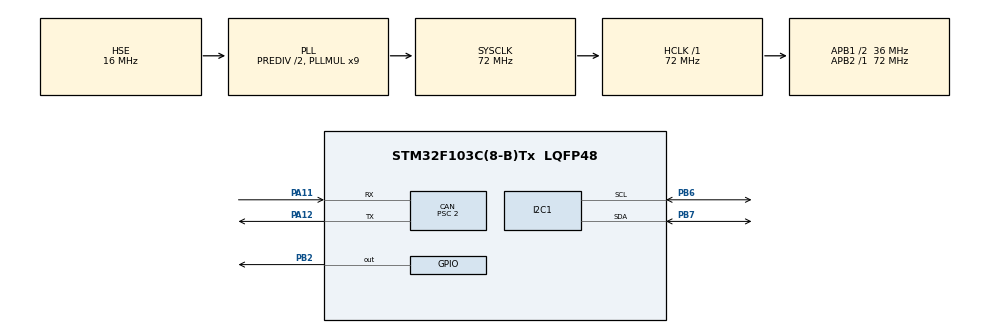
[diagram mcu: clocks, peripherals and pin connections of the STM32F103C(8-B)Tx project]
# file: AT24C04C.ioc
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CAN.BS1=CAN_BS1_15TQ
CAN.BS2=CAN_BS2_2TQ
CAN.CalculateBaudRate=1000000
CAN.CalculateTimeBit=1000
CAN.CalculateTimeQuantum=55.55555555555556
CAN.NART=ENABLE
CAN.Prescaler=2
CAN.SJW=CAN_SJW_2TQ
I2C1.AddressingMode=I2C_ADDRESSINGMODE_7BIT
Mcu.Family=STM32F1
Mcu.Name=STM32F103C(8-B)Tx
Mcu.Package=LQFP48
NVIC.PriorityGroup=NVIC_PRIORITYGROUP_4
NVIC.USB_LP_CAN1_RX0_IRQn=true\:0\:0\:false\:false\:true\:true\:true\:true
PA11.Mode=CAN_Activate
PA11.Signal=CAN_RX
PA12.Mode=CAN_Activate
PA12.Signal=CAN_TX
PA13.Mode=Serial_Wire
PA13.Signal=SYS_JTMS-SWDIO
PA14.Mode=Serial_Wire
PA14.Signal=SYS_JTCK-SWCLK
PB2.Signal=GPIO_Output
PB6.Mode=I2C
PB6.Signal=I2C1_SCL
PB7.Mode=I2C
PB7.Signal=I2C1_SDA
PD0-OSC_IN.Mode=HSE-External-Oscillator
PD0-OSC_IN.Signal=RCC_OSC_IN
PD1-OSC_OUT.Mode=HSE-External-Oscillator
PD1-OSC_OUT.Signal=RCC_OSC_OUT
ProjectManager.HeapSize=0x200
ProjectManager.StackSize=0x400
ProjectManager.TargetToolchain=STM32CubeIDE
RCC.AHBFreq_Value=72000000
RCC.APB1CLKDivider=RCC_HCLK_DIV2
RCC.APB1Freq_Value=36000000
RCC.APB1TimFreq_Value=72000000
RCC.APB2Freq_Value=72000000
RCC.APB2TimFreq_Value=72000000
RCC.HCLKFreq_Value=72000000
RCC.HSEDivPLL=RCC_HSE_PREDIV_DIV2
RCC.HSE_VALUE=16000000
RCC.PLLMUL=RCC_PLL_MUL9
RCC.PLLSourceVirtual=RCC_PLLSOURCE_HSE
RCC.SYSCLKFreq_VALUE=72000000
RCC.SYSCLKSource=RCC_SYSCLKSOURCE_PLLCLK
RCC.USBFreq_Value=72000000
board=custom

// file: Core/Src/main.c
/* USER CODE BEGIN Header */
/**
  ******************************************************************************
  * @file           : main.c
  * @brief          : Main program body
  ******************************************************************************
  * @attention
  *
  * Copyright (c) 2024 STMicroelectronics.
  * All rights reserved.
  *
  * This software is licensed under terms that can be found in the LICENSE file
  * in the root directory of this software component.
  * If no LICENSE file comes with this software, it is provided AS-IS.
  *
  ******************************************************************************
  */
/* USER CODE END Header */
#include "main.h"
#include "can.h"
#include "i2c.h"
#include "gpio.h"

/* USER CODE BEGIN Includes */
#include "at24c04c.h"
#include <stdio.h>
#include <stdint.h>
#include <string.h>

/* USER CODE END Includes */

/* USER CODE BEGIN PTD */
typedef struct __attribute__((__packed__)){
	uint8_t a;
	uint16_t b;
	double c;
} Dummy_struct ;

/* USER CODE END PTD */

/* USER CODE BEGIN PD */

Dummy_struct dummy_struct;

/* USER CODE END PD */

/* USER CODE BEGIN PV */
// CAN Tx
CAN_TxHeaderTypeDef TxHeader;
uint8_t TxData[8];
uint32_t TxMailbox;

// CAN Rx
CAN_FilterTypeDef canfilterconfig;
CAN_RxHeaderTypeDef RxHeader;
uint8_t RxData[8];

/* USER CODE END PV */

void SystemClock_Config(void);

/* USER CODE BEGIN 0 */
void setupTxCAN()
{
    TxHeader.StdId = 0x321;
    TxHeader.ExtId = 0x01;
    TxHeader.RTR = CAN_RTR_DATA;
    TxHeader.IDE = CAN_ID_EXT;
    TxHeader.DLC = 8;
    TxHeader.TransmitGlobalTime = DISABLE;

    TxData[0] = 0xA0;
    TxData[1] = 0xA1;
    TxData[2] = 0xA2;
    TxData[3] = 0xA3;
    TxData[4] = 0xA4;
    TxData[5] = 0xA5;
    TxData[6] = 0xA6;
    TxData[7] = 0xA7;
}

void setupRxCAN()
{
    canfilterconfig.FilterBank = 0;
    canfilterconfig.FilterMode = CAN_FILTERMODE_IDMASK;
    canfilterconfig.FilterScale = CAN_FILTERSCALE_32BIT;
    canfilterconfig.FilterIdHigh = 0x0000;
    canfilterconfig.FilterIdLow = 0x0000;
    canfilterconfig.FilterMaskIdHigh = 0x0000;
    canfilterconfig.FilterMaskIdLow = 0x0000;
    canfilterconfig.FilterFIFOAssignment = CAN_RX_FIFO0;
    canfilterconfig.FilterActivation = ENABLE;
    canfilterconfig.SlaveStartFilterBank = 14;

    HAL_CAN_ConfigFilter(&hcan, &canfilterconfig);
    HAL_CAN_ActivateNotification(&hcan, CAN_IT_RX_FIFO0_MSG_PENDING); //enable interrupts
}

void txCAN()
{
    TxHeader.DLC = 8;
    HAL_StatusTypeDef can_result = HAL_CAN_AddTxMessage(&hcan, &TxHeader,
            TxData, &TxMailbox);
    if (can_result != HAL_OK)
    {
        Error_Handler();
    }
}

/* USER CODE END 0 */

int main(void)
{

  /* MCU Configuration--------------------------------------------------------*/

  /* Reset of all peripherals, Initializes the Flash interface and the Systick. */
  HAL_Init();

  /* Configure the system clock */
  SystemClock_Config();

  /* Initialize all configured peripherals */
  MX_GPIO_Init();
  MX_CAN_Init();
  MX_I2C1_Init();
  /* USER CODE BEGIN 2 */

  MX_AT24C04C_1_Init();
  /* USER CODE END 2 */

  /* Infinite loop */
  /* USER CODE BEGIN WHILE */
  while (1)
  {

    //dummy variables

    uint16_t eeprom_address = 321;
    uint8_t penguinsChampionships_2000s[3];

    penguinsChampionships_2000s[0] = 9;
    penguinsChampionships_2000s[1] = 16;
    penguinsChampionships_2000s[2] = 17;

    AT24C04C_WriteData(&at24c04c_1, eeprom_address, penguinsChampionships_2000s, sizeof(penguinsChampionships_2000s));

    HAL_Delay(1000);

    uint8_t readData[3];

    AT24C04C_ReadData(&at24c04c_1, eeprom_address, readData, sizeof(penguinsChampionships_2000s));

    //Can read results over CAN or Breakpoints.

    dummy_struct.a = 15;
    dummy_struct.b = 5273;
    dummy_struct.c = 5.7;

    uint16_t eeprom_address_2 = 400;
    AT24C04C_WriteData(&at24c04c_1, eeprom_address_2, (uint8_t*) &dummy_struct, sizeof(dummy_struct));

    HAL_Delay(2);

    uint8_t data_array[sizeof(dummy_struct)];
    Dummy_struct dummy_struct_2;

    AT24C04C_ReadData(&at24c04c_1, eeprom_address_2, (uint8_t*) &dummy_struct_2, sizeof(dummy_struct));
    AT24C04C_ReadData(&at24c04c_1, eeprom_address_2, data_array, sizeof(dummy_struct));

    TxHeader.DLC = 1;
    HAL_CAN_AddTxMessage(&hcan, &TxHeader, readData, &TxMailbox);

    HAL_Delay(1000);

    /* USER CODE END WHILE */

  }
}

void SystemClock_Config(void)
{
  RCC_OscInitTypeDef RCC_OscInitStruct = {0};
  RCC_ClkInitTypeDef RCC_ClkInitStruct = {0};

  /** Initializes the RCC Oscillators according to the specified parameters
  * in the RCC_OscInitTypeDef structure.
  */
  RCC_OscInitStruct.OscillatorType = RCC_OSCILLATORTYPE_HSE;
  RCC_OscInitStruct.HSEState = RCC_HSE_ON;
  RCC_OscInitStruct.HSEPredivValue = RCC_HSE_PREDIV_DIV2;
  RCC_OscInitStruct.HSIState = RCC_HSI_ON;
  RCC_OscInitStruct.PLL.PLLState = RCC_PLL_ON;
  RCC_OscInitStruct.PLL.PLLSource = RCC_PLLSOURCE_HSE;
  RCC_OscInitStruct.PLL.PLLMUL = RCC_PLL_MUL9;
  if (HAL_RCC_OscConfig(&RCC_OscInitStruct) != HAL_OK)
  {
    Error_Handler();
  }

  /** Initializes the CPU, AHB and APB buses clocks
  */
  RCC_ClkInitStruct.ClockType = RCC_CLOCKTYPE_HCLK|RCC_CLOCKTYPE_SYSCLK
                              |RCC_CLOCKTYPE_PCLK1|RCC_CLOCKTYPE_PCLK2;
  RCC_ClkInitStruct.SYSCLKSource = RCC_SYSCLKSOURCE_PLLCLK;
  RCC_ClkInitStruct.AHBCLKDivider = RCC_SYSCLK_DIV1;
  RCC_ClkInitStruct.APB1CLKDivider = RCC_HCLK_DIV2;
  RCC_ClkInitStruct.APB2CLKDivider = RCC_HCLK_DIV1;

  if (HAL_RCC_ClockConfig(&RCC_ClkInitStruct, FLASH_LATENCY_2) != HAL_OK)
  {
    Error_Handler();
  }
}

void Error_Handler(void)
{
  __disable_irq();
  while (1)
  {
  }
}
